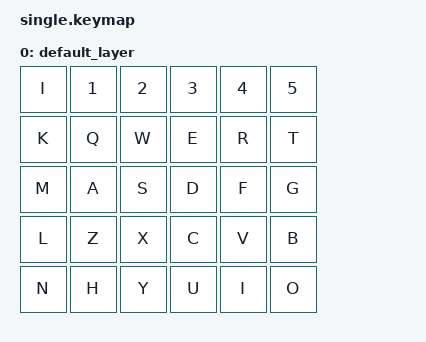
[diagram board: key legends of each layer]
/*
 * Copyright (c) 2020 The ZMK Contributors
 *
 * SPDX-License-Identifier: MIT
 */

#include <behaviors.dtsi>
#include <dt-bindings/zmk/keys.h>

/ {
    keymap {
        compatible = "zmk,keymap";

        default_layer {
            bindings = <
                &kp I   &kp N1      &kp N2      &kp N3      &kp N4      &kp N5
                &kp K   &kp Q       &kp W       &kp E       &kp R       &kp T
                &kp M   &kp A       &kp S       &kp D       &kp F       &kp G
                &kp L   &kp Z       &kp X       &kp C       &kp V       &kp B
                &kp N   &kp H       &kp Y       &kp U       &kp I       &kp O
            >;
        };
    };
};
